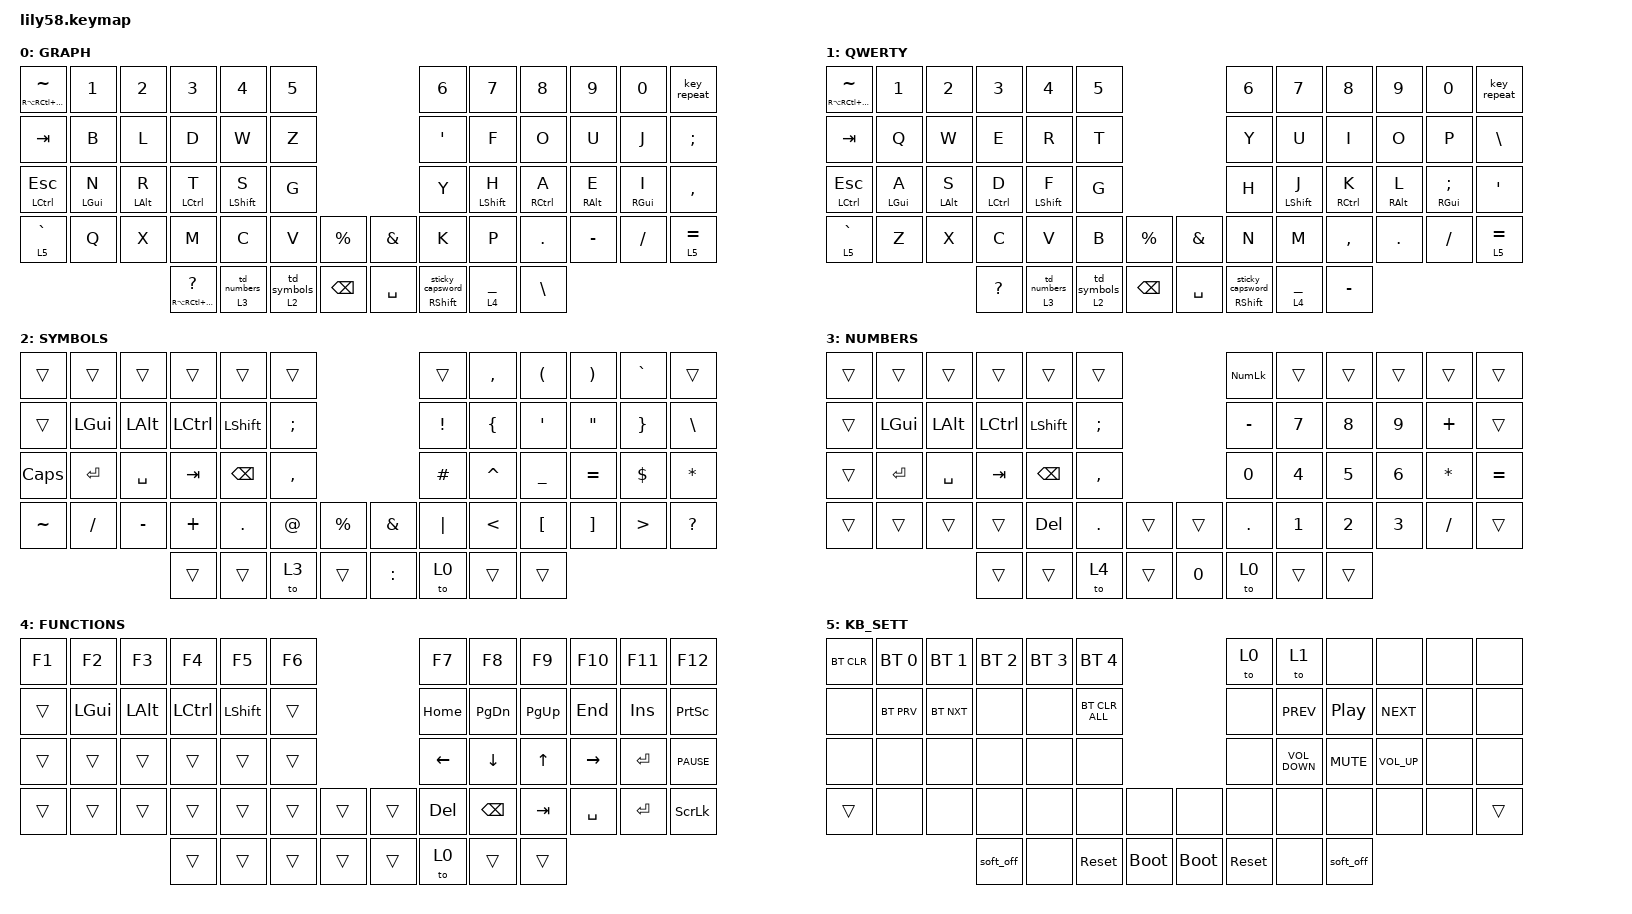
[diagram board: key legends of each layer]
/*
 * Copyright (c) 2020 The ZMK Contributors
 *
 * SPDX-License-Identifier: MIT
 */

#include <behaviors.dtsi>
#include <dt-bindings/zmk/bt.h>
#include <dt-bindings/zmk/keys.h>

#define HRML(k1,k2,k3,k4) &ht LGUI   k1     &ht LALT  k2    &ht LCTRL k3    &ht LSHIFT k4
#define HRMR(k1,k2,k3,k4) &ht RSHIFT k1     &ht RCTRL k2    &ht RALT  k3    &ht RGUI   k4

/ {
    behaviors {
        thm: tap_homerow_mods {
            compatible = "zmk,behavior-hold-tap";
            #binding-cells = <2>;
            tapping-term-ms = <200>;
            quick-tap-ms = <0>;
            flavor = "tap-preferred";
            bindings = <&kp>, <&kp>;
        };

        layer_hold: layer_hold {
            compatible = "zmk,behavior-hold-tap";
            label = "LAYER_HOLD";
            bindings = <&mo>, <&kp>;

            #binding-cells = <2>;
            tapping-term-ms = <100>;
            hold-while-undecided;
            retro-tap;
        };

        kb_settings: kb_settings {
            compatible = "zmk,behavior-hold-tap";
            label = "KB_SETTINGS";
            bindings = <&mo>, <&kp>;

            #binding-cells = <2>;
            tapping-term-ms = <600>;
            flavor = "tap-preferred";
        };

        sticky_capsword: sticky_capsword {
            compatible = "zmk,behavior-tap-dance";
            label = "STICKY_CAPSWORD";
            #binding-cells = <0>;
            bindings = <&sk LSHIFT>, <&caps_word>;

            tapping-term-ms = <200>;
        };

        super_shift: super_shift {
            compatible = "zmk,behavior-hold-tap";
            label = "SUPER_SHIFT";
            bindings = <&kp>, <&sticky_capsword>;

            #binding-cells = <2>;
            tapping-term-ms = <500>;
            flavor = "tap-preferred";
            quick-tap-ms = <200>;
            retro-tap;
            hold-while-undecided-linger;
        };

        td_symbols: td_symbols {
            compatible = "zmk,behavior-tap-dance";
            label = "Tap dance symbols";
            #binding-cells = <0>;
            bindings = <&to 2>, <&sl 2>;

            tapping-term-ms = <200>;
        };

        super_symbols: super_symbols {
            compatible = "zmk,behavior-hold-tap";
            label = "SUPER_SYMBOLS";
            bindings = <&mo>, <&td_symbols>;

            #binding-cells = <2>;
            tapping-term-ms = <200>;
            quick-tap-ms = <200>;
            flavor = "tap-preferred";
            hold-while-undecided-linger;
            hold-while-undecided;
        };

        capsnum: capsnum {
            compatible = "zmk,behavior-caps-word";
            label = "CAPSNUM";
            #binding-cells = <0>;
            continue-list = <N0 N2 N3 N4 N5 N6 N7 N8 N9 MINUS PLUS SLASH ASTERISK N1 EQUAL ENTER KP_N0 KP_N1 KP_N2 KP_N3 KP_N4 KP_N5 KP_N6 KP_N7 KP_N8 KP_N9 KP_MINUS KP_PLUS KP_EQUAL KP_ASTERISK KP_ENTER KP_DOT KP_EQUAL_AS400 BACKSPACE DELETE>;
        };

        td_numbers: td_numbers {
            compatible = "zmk,behavior-tap-dance";
            label = "Tap dance numbers";
            #binding-cells = <0>;
            tapping-term-ms = <200>;
            bindings = <&to 3>, <&sl 3>;
        };

        super_numbers: super_numbers {
            compatible = "zmk,behavior-hold-tap";
            label = "SUPER_NUMBERS";
            bindings = <&mo>, <&td_numbers>;

            #binding-cells = <2>;
            tapping-term-ms = <200>;
            quick-tap-ms = <200>;
            flavor = "tap-preferred";
            hold-while-undecided;
            hold-while-undecided-linger;
        };
    };

    combos {
        compatible = "zmk,combos";

        combo_enter {
            bindings = <&kp ENTER>;
            key-positions = <45 46>;
        };

        combo_delete {
            bindings = <&kp DELETE>;
            key-positions = <40 39>;
        };

        combo_copy {
            bindings = <&kp RG(C)>;
            key-positions = <2 3>;
        };

        combo_paste {
            bindings = <&kp RG(V)>;
            key-positions = <3 4>;
        };

        combo_cmd_undo {
            bindings = <&kp RG(Z)>;
            key-positions = <0 1>;
        };

        combo_cut {
            bindings = <&kp RG(X)>;
            key-positions = <1 2>;
        };

        combo_c_u {
            bindings = <&kp RC(U)>;
            key-positions = <8 9>;
        };

        combo_c_d {
            bindings = <&kp RC(D)>;
            key-positions = <8 7>;
        };

        combo_ctrl_a {
            bindings = <&kp LC(A)>;
            key-positions = <24 25>;
            layers = <0 1>;
        };
    };

    keymap {
        compatible = "zmk,keymap";

        graphite {
            bindings = <
&mt RA(RC(RG(RIGHT_SHIFT))) TILDE  &kp N1           &kp N2           &kp N3                            &kp N4              &kp N5                                            &kp N6                      &kp N7                    &kp N8                &kp N9            &kp N0            &key_repeat
&kp TAB                            &kp B            &kp L            &kp D                             &kp W               &kp Z                                             &kp SQT                     &kp F                     &kp O                 &kp U             &kp J             &kp SEMI
&mt LEFT_CONTROL ESCAPE            &thm LEFT_GUI N  &thm LEFT_ALT R  &thm LEFT_CONTROL T               &thm LEFT_SHIFT S   &kp G                                             &kp Y                       &thm LEFT_SHIFT H         &thm RIGHT_CONTROL A  &thm RIGHT_ALT E  &thm RIGHT_GUI I  &kp COMMA
&kb_settings 5 GRAVE               &kp Q            &kp X            &kp M                             &kp C               &kp V               &kp PERCENT    &kp AMPERSAND  &kp K                       &kp P                     &kp DOT               &kp MINUS         &kp FSLH          &kb_settings 5 EQUAL
                                                                     &mt RA(RC(RIGHT_SHIFT)) QUESTION  &super_numbers 3 0  &super_symbols 2 0  &kp BSPC       &kp SPACE      &super_shift RIGHT_SHIFT 0  &layer_hold 4 UNDERSCORE  &kp BACKSLASH
            >;

            label = "GRAPH";
        };

        qwerty {
            bindings = <
&mt RA(RC(RIGHT_SHIFT)) TILDE  &kp N1           &kp N2           &kp N3               &kp N4              &kp N5                                            &kp N6                      &kp N7                    &kp N8                &kp N9            &kp N0                    &key_repeat
&kp TAB                        &kp Q            &kp W            &kp E                &kp R               &kp T                                             &kp Y                       &kp U                     &kp I                 &kp O             &kp P                     &kp BSLH
&mt LEFT_CONTROL ESCAPE        &thm LEFT_GUI A  &thm LEFT_ALT S  &thm LEFT_CONTROL D  &thm LEFT_SHIFT F   &kp G                                             &kp H                       &thm LEFT_SHIFT J         &thm RIGHT_CONTROL K  &thm RIGHT_ALT L  &thm RIGHT_GUI SEMICOLON  &kp SQT
&kb_settings 5 GRAVE           &kp Z            &kp X            &kp C                &kp V               &kp B               &kp PERCENT    &kp AMPERSAND  &kp N                       &kp M                     &kp COMMA             &kp DOT           &kp FSLH                  &kb_settings 5 EQUAL
                                                                 &kp QUESTION         &super_numbers 3 0  &super_symbols 2 0  &kp BSPC       &kp SPACE      &super_shift RIGHT_SHIFT 0  &layer_hold 4 UNDERSCORE  &kp MINUS
            >;

            label = "QWERTY";
        };

        symbols {
            bindings = <
&trans        &trans     &trans     &trans     &trans      &trans                                   &trans     &kp COMMA       &kp LEFT_PARENTHESIS  &kp RIGHT_PARENTHESIS  &kp GRAVE         &trans
&trans        &kp LGUI   &kp LALT   &kp LCTRL  &kp LSHFT   &kp SEMI                                 &kp EXCL   &kp LEFT_BRACE  &kp SQT               &kp DOUBLE_QUOTES      &kp RIGHT_BRACE   &kp BACKSLASH
&kp CAPSLOCK  &kp RET    &kp SPACE  &kp TAB    &kp BSPC    &kp COMMA                                &kp POUND  &kp CARET       &kp UNDERSCORE        &kp EQUAL              &kp DOLLAR        &kp STAR
&kp TILDE     &kp SLASH  &kp MINUS  &kp PLUS   &kp PERIOD  &kp AT     &kp PERCENT    &kp AMPERSAND  &kp PIPE   &kp LESS_THAN   &kp LEFT_BRACKET      &kp RIGHT_BRACKET      &kp GREATER_THAN  &kp QUESTION
                                    &trans     &trans      &to 3      &trans         &kp COLON      &to 0      &trans          &trans
            >;

            label = "SYMBOLS";
        };

        numbers {
            bindings = <
&trans  &trans    &trans     &trans     &trans      &trans                        &kp KP_NUMLOCK  &trans  &trans  &trans  &trans        &trans
&trans  &kp LGUI  &kp LALT   &kp LCTRL  &kp LSHFT   &kp SEMI                      &kp MINUS       &kp N7  &kp N8  &kp N9  &kp PLUS      &trans
&trans  &kp RET   &kp SPACE  &kp TAB    &kp BSPC    &kp COMMA                     &kp N0          &kp N4  &kp N5  &kp N6  &kp ASTERISK  &kp EQUAL
&trans  &trans    &trans     &trans     &kp DELETE  &kp PERIOD  &trans    &trans  &kp DOT         &kp N1  &kp N2  &kp N3  &kp SLASH     &trans
                             &trans     &trans      &to 4       &trans    &kp N0  &to 0           &trans  &trans
            >;

            label = "NUMBERS";
        };

        functions {
            bindings = <
&kp F1  &kp F2    &kp F3    &kp F4     &kp F5     &kp F6                    &kp F7      &kp F8         &kp F9        &kp F10    &kp F11    &kp F12
&trans  &kp LGUI  &kp LALT  &kp LCTRL  &kp LSHFT  &trans                    &kp HOME    &kp PAGE_DOWN  &kp PAGE_UP   &kp END    &kp INS    &kp PRINTSCREEN
&trans  &trans    &trans    &trans     &trans     &trans                    &kp LEFT    &kp DOWN       &kp UP_ARROW  &kp RIGHT  &kp ENTER  &kp C_PAUSE
&trans  &trans    &trans    &trans     &trans     &trans  &trans    &trans  &kp DELETE  &kp BACKSPACE  &kp TAB       &kp SPACE  &kp ENTER  &kp SCROLLLOCK
                            &trans     &trans     &trans  &trans    &trans  &to 0       &trans         &trans
            >;

            label = "FUNCTIONS";
        };

        keyboard_settings {
            bindings = <
&bt BT_CLR  &bt BT_SEL 0  &bt BT_SEL 1  &bt BT_SEL 2  &bt BT_SEL 3  &bt BT_SEL 4                                &to 0       &to 1              &none       &none            &none  &none
&none       &bt BT_PRV    &bt BT_NXT    &none         &none         &bt BT_CLR_ALL                              &none       &kp C_PREV         &kp C_PP    &kp C_NEXT       &none  &none
&none       &none         &none         &none         &none         &none                                       &none       &kp C_VOLUME_DOWN  &kp C_MUTE  &kp C_VOLUME_UP  &none  &none
&trans      &none         &none         &none         &none         &none           &none          &none        &none       &none              &none       &none            &none  &trans
                                        &soft_off     &none         &sys_reset      &bootloader    &bootloader  &sys_reset  &none              &soft_off
            >;

            label = "KB_SETT";
        };
    };
};
